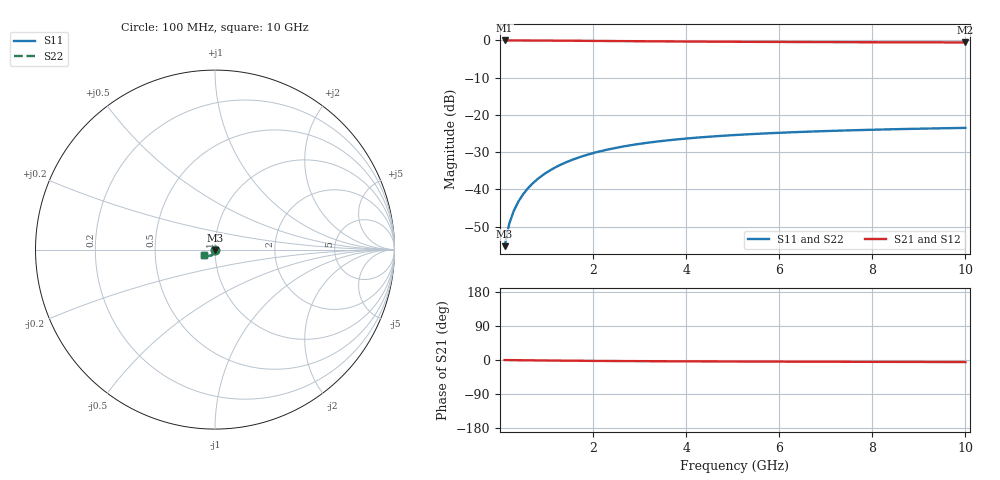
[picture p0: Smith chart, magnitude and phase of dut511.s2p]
! Touchstone file exported from HFSS 2024.1.0
!  File:  C:/UserFiles/LocalFiles/RDL_TSV_Batchsim/temp_TSV1_511_1779702455.aedt
!  Generated:  05:52:26 PM May 25, 2026
!  Design:  TSV1
!  Project:  temp_TSV1_511_1779702455
!  Setup:  Setup1
!  Solution:  Sweep
! Variables:
!  dtsv = 12.98um
!  hbump = 3um
!  htsv = 82.63um
!  lrdl = 252.1521522um
!  p = 40
!  p1 = 41.63um
!  t = 500um
!  trdl = 3um
!  wrdl = 24.89489489um
# GHz S MA R 50.000000
! Terminal data exported
! Port[1] = TSV22_T1
! Port[2] = TSV22_T2
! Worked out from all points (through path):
!   100 points, 100 MHz to 10 GHz, reference 50 ohm
!   highest |S21| = 0.00 dB at 100 MHz (marker M1); lowest = -0.5 dB at 10 GHz (marker M2)
!   lowest |S11| = -55.2 dB at 100 MHz (marker M3), VSWR 1.00, Z = 50 - j0.173 ohm
!   |S11| at or under -10 dB: start of sweep to end of sweep
!   |S22| runs from -55.2 to -23.5 dB; largest |S21 - S12| = 2.2e-15
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0.1  0.001729 -88.3  0.9999 -0.1  0.9999 -0.1  0.001729 -88.3
! Gamma 0 0 0 0
! Port Impedance 50 0 50 0
0.2  0.003474 -91.2  0.9997 -0.3  0.9997 -0.3  0.003474 -91.2
0.3  0.005209 -93.2  0.9995 -0.4  0.9995 -0.4  0.005209 -93.2
0.4  0.006932 -94.9  0.9992 -0.5  0.9992 -0.5  0.006932 -94.9
0.5  0.008639 -96.5  0.9988 -0.7  0.9988 -0.7  0.008639 -96.5
0.6  0.01033 -98.1  0.9983 -0.8  0.9983 -0.8  0.01033 -98.1
0.7  0.01199 -99.6  0.9977 -0.9  0.9977 -0.9  0.01199 -99.6
0.8  0.01363 -101.0  0.9971 -1.1  0.9971 -1.1  0.01363 -101.0
0.9  0.01525 -102.5  0.9964 -1.2  0.9964 -1.2  0.01525 -102.5
1.1  0.01838 -105.2  0.9949 -1.4  0.9949 -1.4  0.01838 -105.2
1.4  0.02282 -109.1  0.9923 -1.8  0.9923 -1.8  0.02282 -109.1
1.6  0.0256 -111.6  0.9903 -2.0  0.9903 -2.0  0.0256 -111.6
1.8  0.02822 -114.0  0.9884 -2.1  0.9884 -2.1  0.02822 -114.0
2.1  0.03187 -117.3  0.9853 -2.4  0.9853 -2.4  0.03187 -117.3
2.5  0.03621 -121.3  0.9813 -2.7  0.9813 -2.7  0.03621 -121.3
2.9  0.04 -124.9  0.9774 -3.0  0.9774 -3.0  0.04 -124.9
3.4  0.04408 -128.8  0.9728 -3.2  0.9728 -3.2  0.04408 -128.8
4.2  0.04936 -134.0  0.9662 -3.6  0.9662 -3.6  0.04936 -134.0
5.1  0.05396 -138.7  0.96 -4.0  0.96 -4.0  0.05396 -138.7
6.7  0.05984 -144.9  0.9516 -4.5  0.9516 -4.5  0.05984 -144.9
8.4  0.06411 -149.7  0.9452 -5.0  0.9452 -5.0  0.06411 -149.7
10  0.06699 -153.1  0.9409 -5.5  0.9409 -5.5  0.06699 -153.1
